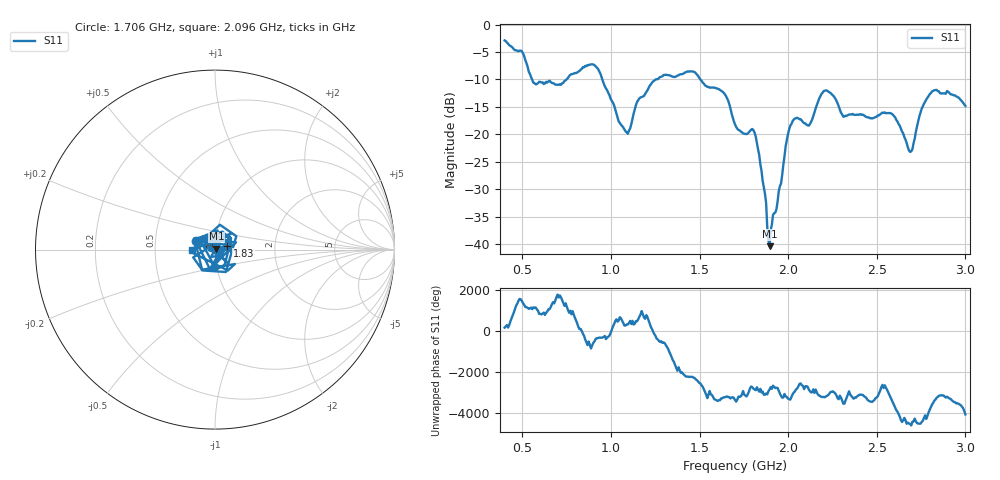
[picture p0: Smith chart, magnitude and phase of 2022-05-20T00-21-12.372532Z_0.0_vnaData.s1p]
!Created with skrf (http://scikit-rf.org).
# Hz S RI R 50.0
!freq ReS11 ImS11
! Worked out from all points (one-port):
!   401 points, 400 MHz to 3 GHz, reference 50 ohm
!   lowest |S11| = -40.4 dB at 1.895 GHz (marker M1), VSWR 1.02, Z = 50.8 + j0.502 ohm
!   |S11| at or under -10 dB: 555 MHz to 749.4 MHz (194.4 MHz wide, 29.8 % of centre); 951.2 MHz to 1.254 GHz (302.8 MHz wide, 27.5 % of centre); 1.504 GHz to end of sweep
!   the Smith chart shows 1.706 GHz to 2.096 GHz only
!   S11 on the Smith chart (normalised r, x): 1.706 GHz: 0.81, +0.08; 1.83 GHz: 1.15, +0.05; 2.096 GHz: 0.78, -0.00
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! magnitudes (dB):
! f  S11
! 400 MHz  -2.9
! 497.5 MHz  -4.9
! 569 MHz  -10.7
! 725 MHz  -10.7
! 907 MHz  -7.4
! 1.05 GHz  -17.9
! 1.095 GHz  -19.9
! 1.154 GHz  -13.8
! 1.232 GHz  -10.6
! 1.375 GHz  -9.3
! 1.466 GHz  -8.6
! 1.622 GHz  -12.1
! 1.7 GHz  -18.2
! 1.706 GHz  -18.7
! 1.804 GHz  -19.3
! 1.83 GHz  -22.7
! 1.895 GHz  -40.4
! 1.999 GHz  -20.0
! 2.025 GHz  -17.6
! 2.096 GHz  -18.0
! 2.207 GHz  -12.1
! 2.35 GHz  -16.4
! 2.584 GHz  -16.3
! 2.675 GHz  -22.3
! 2.701 GHz  -22.7
! 2.753 GHz  -15.4
! 2.812 GHz  -12.2
! 3 GHz  -14.8
